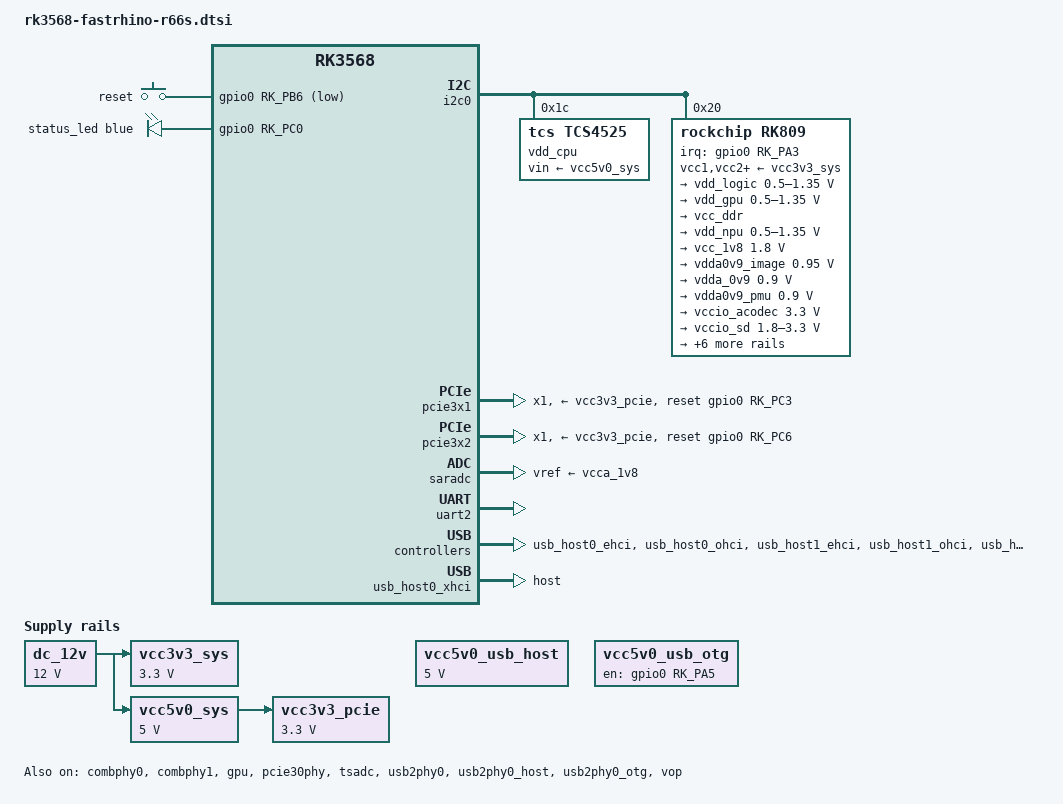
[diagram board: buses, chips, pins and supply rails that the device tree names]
// SPDX-License-Identifier: GPL-2.0-or-later OR MIT

/dts-v1/;
#include <dt-bindings/gpio/gpio.h>
#include <dt-bindings/input/input.h>
#include <dt-bindings/leds/common.h>
#include <dt-bindings/pinctrl/rockchip.h>
#include <dt-bindings/soc/rockchip,vop2.h>
#include "rk3568.dtsi"

/ {
	chosen: chosen {
		stdout-path = "serial2:1500000n8";
	};

	gpio-keys {
		compatible = "gpio-keys";
		pinctrl-names = "default";
		pinctrl-0 = <&reset_button_pin>;

		button-reset {
			debounce-interval = <50>;
			gpios = <&gpio0 RK_PB6 GPIO_ACTIVE_LOW>;
			label = "reset";
			linux,code = <KEY_RESTART>;
		};
	};

	gpio-leds {
		compatible = "gpio-leds";
		pinctrl-names = "default";
		pinctrl-0 = <&status_led_pin>;

		status_led: led-status {
			color = <LED_COLOR_ID_BLUE>;
			function = LED_FUNCTION_STATUS;
			gpios = <&gpio0 RK_PC0 GPIO_ACTIVE_HIGH>;
			linux,default-trigger = "heartbeat";
		};
	};

	dc_12v: dc-12v-regulator {
		compatible = "regulator-fixed";
		regulator-name = "dc_12v";
		regulator-always-on;
		regulator-boot-on;
		regulator-min-microvolt = <12000000>;
		regulator-max-microvolt = <12000000>;
	};

	vcc3v3_pcie: vcc3v3-pcie-regulator {
		compatible = "regulator-fixed";
		regulator-name = "vcc3v3_pcie";
		regulator-always-on;
		regulator-boot-on;
		regulator-min-microvolt = <3300000>;
		regulator-max-microvolt = <3300000>;
		vin-supply = <&vcc5v0_sys>;
	};

	vcc3v3_sys: vcc3v3-sys-regulator {
		compatible = "regulator-fixed";
		regulator-name = "vcc3v3_sys";
		regulator-always-on;
		regulator-boot-on;
		regulator-min-microvolt = <3300000>;
		regulator-max-microvolt = <3300000>;
		vin-supply = <&dc_12v>;
	};

	vcc5v0_sys: vcc5v0-sys-regulator {
		compatible = "regulator-fixed";
		regulator-name = "vcc5v0_sys";
		regulator-always-on;
		regulator-boot-on;
		regulator-min-microvolt = <5000000>;
		regulator-max-microvolt = <5000000>;
		vin-supply = <&dc_12v>;
	};

	vcc5v0_usb_host: vcc5v0-usb-host-regulator {
		compatible = "regulator-fixed";
		regulator-name = "vcc5v0_usb_host";
		regulator-always-on;
		regulator-boot-on;
		regulator-min-microvolt = <5000000>;
		regulator-max-microvolt = <5000000>;
	};

	vcc5v0_usb_otg: vcc5v0-usb-otg-regulator {
		compatible = "regulator-fixed";
		enable-active-high;
		gpio = <&gpio0 RK_PA5 GPIO_ACTIVE_HIGH>;
		pinctrl-names = "default";
		pinctrl-0 = <&vcc5v0_usb_otg_en>;
		regulator-name = "vcc5v0_usb_otg";
		regulator-always-on;
		regulator-boot-on;
	};
};

&combphy0 {
	status = "okay";
};

&combphy1 {
	status = "okay";
};

&cpu0 {
	cpu-supply = <&vdd_cpu>;
};

&cpu1 {
	cpu-supply = <&vdd_cpu>;
};

&cpu2 {
	cpu-supply = <&vdd_cpu>;
};

&cpu3 {
	cpu-supply = <&vdd_cpu>;
};

&gpu {
	mali-supply = <&vdd_gpu>;
	status = "okay";
};

&i2c0 {
	status = "okay";

	vdd_cpu: regulator@1c {
		compatible = "tcs,tcs4525";
		reg = <0x1c>;
		fcs,suspend-voltage-selector = <1>;
		regulator-name = "vdd_cpu";
		regulator-always-on;
		regulator-boot-on;
		regulator-min-microvolt = <800000>;
		regulator-max-microvolt = <1150000>;
		regulator-ramp-delay = <2300>;
		vin-supply = <&vcc5v0_sys>;

		regulator-state-mem {
			regulator-off-in-suspend;
		};
	};

	rk809: pmic@20 {
		compatible = "rockchip,rk809";
		reg = <0x20>;
		interrupt-parent = <&gpio0>;
		interrupts = <RK_PA3 IRQ_TYPE_LEVEL_LOW>;
		#clock-cells = <1>;
		pinctrl-names = "default";
		pinctrl-0 = <&pmic_int>;
		rockchip,system-power-controller;
		vcc1-supply = <&vcc3v3_sys>;
		vcc2-supply = <&vcc3v3_sys>;
		vcc3-supply = <&vcc3v3_sys>;
		vcc4-supply = <&vcc3v3_sys>;
		vcc5-supply = <&vcc3v3_sys>;
		vcc6-supply = <&vcc3v3_sys>;
		vcc7-supply = <&vcc3v3_sys>;
		vcc8-supply = <&vcc3v3_sys>;
		vcc9-supply = <&vcc3v3_sys>;
		wakeup-source;

		regulators {
			vdd_logic: DCDC_REG1 {
				regulator-name = "vdd_logic";
				regulator-always-on;
				regulator-boot-on;
				regulator-initial-mode = <0x2>;
				regulator-min-microvolt = <500000>;
				regulator-max-microvolt = <1350000>;
				regulator-ramp-delay = <6001>;

				regulator-state-mem {
					regulator-off-in-suspend;
				};
			};

			vdd_gpu: DCDC_REG2 {
				regulator-name = "vdd_gpu";
				regulator-always-on;
				regulator-initial-mode = <0x2>;
				regulator-min-microvolt = <500000>;
				regulator-max-microvolt = <1350000>;
				regulator-ramp-delay = <6001>;

				regulator-state-mem {
					regulator-off-in-suspend;
				};
			};

			vcc_ddr: DCDC_REG3 {
				regulator-name = "vcc_ddr";
				regulator-always-on;
				regulator-boot-on;
				regulator-initial-mode = <0x2>;

				regulator-state-mem {
					regulator-on-in-suspend;
				};
			};

			vdd_npu: DCDC_REG4 {
				regulator-name = "vdd_npu";
				regulator-initial-mode = <0x2>;
				regulator-min-microvolt = <500000>;
				regulator-max-microvolt = <1350000>;
				regulator-ramp-delay = <6001>;

				regulator-state-mem {
					regulator-off-in-suspend;
				};
			};

			vcc_1v8: DCDC_REG5 {
				regulator-name = "vcc_1v8";
				regulator-always-on;
				regulator-boot-on;
				regulator-min-microvolt = <1800000>;
				regulator-max-microvolt = <1800000>;

				regulator-state-mem {
					regulator-off-in-suspend;
				};
			};

			vdda0v9_image: LDO_REG1 {
				regulator-name = "vdda0v9_image";
				regulator-min-microvolt = <950000>;
				regulator-max-microvolt = <950000>;

				regulator-state-mem {
					regulator-off-in-suspend;
				};
			};

			vdda_0v9: LDO_REG2 {
				regulator-name = "vdda_0v9";
				regulator-always-on;
				regulator-boot-on;
				regulator-min-microvolt = <900000>;
				regulator-max-microvolt = <900000>;

				regulator-state-mem {
					regulator-off-in-suspend;
				};
			};

			vdda0v9_pmu: LDO_REG3 {
				regulator-name = "vdda0v9_pmu";
				regulator-always-on;
				regulator-boot-on;
				regulator-min-microvolt = <900000>;
				regulator-max-microvolt = <900000>;

				regulator-state-mem {
					regulator-on-in-suspend;
					regulator-suspend-microvolt = <900000>;
				};
			};

			vccio_acodec: LDO_REG4 {
				regulator-name = "vccio_acodec";
				regulator-always-on;
				regulator-min-microvolt = <3300000>;
				regulator-max-microvolt = <3300000>;

				regulator-state-mem {
					regulator-off-in-suspend;
				};
			};

			vccio_sd: LDO_REG5 {
				regulator-name = "vccio_sd";
				regulator-min-microvolt = <1800000>;
				regulator-max-microvolt = <3300000>;

				regulator-state-mem {
					regulator-off-in-suspend;
				};
			};

			vcc3v3_pmu: LDO_REG6 {
				regulator-name = "vcc3v3_pmu";
				regulator-always-on;
				regulator-boot-on;
				regulator-min-microvolt = <3300000>;
				regulator-max-microvolt = <3300000>;

				regulator-state-mem {
					regulator-on-in-suspend;
					regulator-suspend-microvolt = <3300000>;
				};
			};

			vcca_1v8: LDO_REG7 {
				regulator-name = "vcca_1v8";
				regulator-always-on;
				regulator-boot-on;
				regulator-min-microvolt = <1800000>;
				regulator-max-microvolt = <1800000>;

				regulator-state-mem {
					regulator-off-in-suspend;
				};
			};

			vcca1v8_pmu: LDO_REG8 {
				regulator-name = "vcca1v8_pmu";
				regulator-always-on;
				regulator-boot-on;
				regulator-min-microvolt = <1800000>;
				regulator-max-microvolt = <1800000>;

				regulator-state-mem {
					regulator-on-in-suspend;
					regulator-suspend-microvolt = <1800000>;
				};
			};

			vcca1v8_image: LDO_REG9 {
				regulator-name = "vcca1v8_image";
				regulator-min-microvolt = <950000>;
				regulator-max-microvolt = <1800000>;

				regulator-state-mem {
					regulator-off-in-suspend;
					regulator-suspend-microvolt = <950000>;
				};
			};

			vcc_3v3: SWITCH_REG1 {
				regulator-name = "vcc_3v3";
				regulator-always-on;
				regulator-boot-on;

				regulator-state-mem {
					regulator-off-in-suspend;
				};
			};

			vcc3v3_sd: SWITCH_REG2 {
				regulator-name = "vcc3v3_sd";

				regulator-state-mem {
					regulator-off-in-suspend;
				};
			};
		};
	};
};

&pcie30phy {
	data-lanes = <1 2>;
	status = "okay";
};

&pcie3x1 {
	num-lanes = <1>;
	reset-gpios = <&gpio0 RK_PC3 GPIO_ACTIVE_HIGH>;
	vpcie3v3-supply = <&vcc3v3_pcie>;
	status = "okay";
};

&pcie3x2 {
	num-lanes = <1>;
	reset-gpios = <&gpio0 RK_PC6 GPIO_ACTIVE_HIGH>;
	vpcie3v3-supply = <&vcc3v3_pcie>;
	status = "okay";
};

&pinctrl {
	gpio-leds {
		status_led_pin: status-led-pin {
			rockchip,pins = <0 RK_PC0 RK_FUNC_GPIO &pcfg_pull_none>;
		};
	};

	pmic {
		pmic_int: pmic-int {
			rockchip,pins = <0 RK_PA3 RK_FUNC_GPIO &pcfg_pull_up>;
		};
	};

	rockchip-key {
		reset_button_pin: reset-button-pin {
			rockchip,pins = <0 RK_PB6 RK_FUNC_GPIO &pcfg_pull_up>;
		};
	};

	usb {
		vcc5v0_usb_otg_en: vcc5v0-usb-otg-en {
			rockchip,pins = <0 RK_PA5 RK_FUNC_GPIO &pcfg_pull_none>;
		};
	};
};

&pmu_io_domains {
	pmuio1-supply = <&vcc3v3_pmu>;
	pmuio2-supply = <&vcc3v3_pmu>;
	vccio1-supply = <&vccio_acodec>;
	vccio3-supply = <&vccio_sd>;
	vccio4-supply = <&vcc_1v8>;
	vccio5-supply = <&vcc_3v3>;
	vccio6-supply = <&vcc_1v8>;
	vccio7-supply = <&vcc_3v3>;
	status = "okay";
};

&saradc {
	vref-supply = <&vcca_1v8>;
	status = "okay";
};

&tsadc {
	rockchip,hw-tshut-mode = <1>;
	rockchip,hw-tshut-polarity = <0>;
	status = "okay";
};

&uart2 {
	status = "okay";
};

&usb_host0_ehci {
	status = "okay";
};

&usb_host0_ohci {
	status = "okay";
};

&usb_host0_xhci {
	dr_mode = "host";
	extcon = <&usb2phy0>;
	status = "okay";
};

&usb_host1_ehci {
	status = "okay";
};

&usb_host1_ohci {
	status = "okay";
};

&usb_host1_xhci {
	status = "okay";
};

&usb2phy0 {
	status = "okay";
};

&usb2phy0_host {
	phy-supply = <&vcc5v0_usb_host>;
	status = "okay";
};

&usb2phy0_otg {
	phy-supply = <&vcc5v0_usb_otg>;
	status = "okay";
};

&vop {
	assigned-clocks = <&cru DCLK_VOP0>, <&cru DCLK_VOP1>;
	assigned-clock-parents = <&pmucru PLL_HPLL>, <&cru PLL_VPLL>;
	status = "okay";
};

&vop_mmu {
	status = "okay";
};
